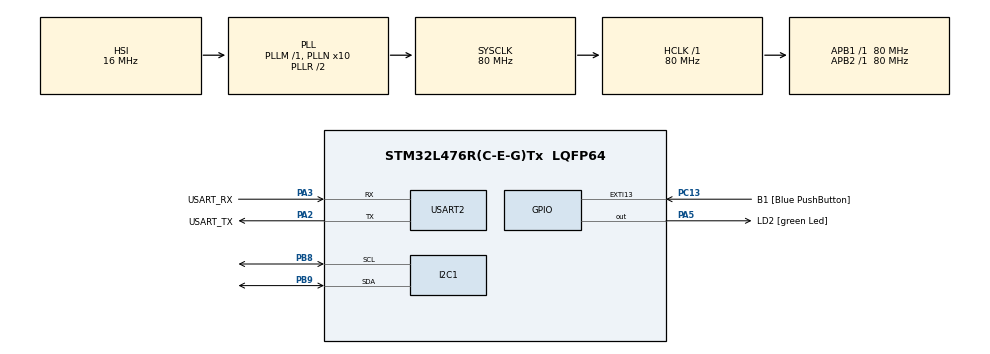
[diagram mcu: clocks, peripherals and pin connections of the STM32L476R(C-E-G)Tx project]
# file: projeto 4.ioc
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I2C1.Timing=0x10D19CE4
Mcu.Family=STM32L4
Mcu.Name=STM32L476R(C-E-G)Tx
Mcu.Package=LQFP64
NVIC.I2C1_ER_IRQn=true\:0\:0\:false\:false\:true\:true\:true\:true
NVIC.I2C1_EV_IRQn=true\:0\:0\:false\:false\:true\:true\:true\:true
NVIC.PriorityGroup=NVIC_PRIORITYGROUP_4
NVIC.USART2_IRQn=true\:0\:0\:false\:false\:true\:true\:true\:true
PA13\ (JTMS-SWDIO).GPIO_Label=TMS
PA13\ (JTMS-SWDIO).Mode=Serial_Wire
PA13\ (JTMS-SWDIO).Signal=SYS_JTMS-SWDIO
PA14\ (JTCK-SWCLK).GPIO_Label=TCK
PA14\ (JTCK-SWCLK).Mode=Serial_Wire
PA14\ (JTCK-SWCLK).Signal=SYS_JTCK-SWCLK
PA2.GPIO_Label=USART_TX
PA2.GPIO_Mode=GPIO_MODE_AF_PP
PA2.GPIO_PuPd=GPIO_NOPULL
PA2.GPIO_Speed=GPIO_SPEED_FREQ_VERY_HIGH
PA2.Mode=Asynchronous
PA2.Signal=USART2_TX
PA3.GPIO_Label=USART_RX
PA3.GPIO_Mode=GPIO_MODE_AF_PP
PA3.GPIO_PuPd=GPIO_NOPULL
PA3.GPIO_Speed=GPIO_SPEED_FREQ_VERY_HIGH
PA3.Mode=Asynchronous
PA3.Signal=USART2_RX
PA5.GPIO_Label=LD2 [green Led]
PA5.GPIO_ModeDefaultOutputPP=GPIO_MODE_OUTPUT_PP
PA5.GPIO_PuPd=GPIO_NOPULL
PA5.GPIO_Speed=GPIO_SPEED_FREQ_LOW
PA5.Signal=GPIO_Output
PB3\ (JTDO-TRACESWO).GPIO_Label=SWO
PB3\ (JTDO-TRACESWO).Signal=SYS_JTDO-SWO
PB8.Mode=I2C
PB8.Signal=I2C1_SCL
PB9.Mode=I2C
PB9.Signal=I2C1_SDA
PC13.GPIO_Label=B1 [Blue PushButton]
PC13.GPIO_ModeDefaultEXTI=GPIO_MODE_IT_FALLING
PC13.GPIO_PuPd=GPIO_NOPULL
PC13.Signal=GPXTI13
PC14-OSC32_IN\ (PC14).Mode=LSE-External-Oscillator
PC14-OSC32_IN\ (PC14).Signal=RCC_OSC32_IN
PC15-OSC32_OUT\ (PC15).Mode=LSE-External-Oscillator
PC15-OSC32_OUT\ (PC15).Signal=RCC_OSC32_OUT
PH0-OSC_IN\ (PH0).Signal=RCC_OSC_IN
PH1-OSC_OUT\ (PH1).Signal=RCC_OSC_OUT
ProjectManager.HeapSize=0x200
ProjectManager.StackSize=0x400
ProjectManager.TargetToolchain=STM32CubeIDE
RCC.ADCFreq_Value=64000000
RCC.AHBFreq_Value=80000000
RCC.APB1Freq_Value=80000000
RCC.APB1TimFreq_Value=80000000
RCC.APB2Freq_Value=80000000
RCC.APB2TimFreq_Value=80000000
RCC.CortexFreq_Value=80000000
RCC.HCLKFreq_Value=80000000
RCC.HSE_VALUE=8000000
RCC.HSI_VALUE=16000000
RCC.MSI_VALUE=4000000
RCC.PLLN=10
RCC.PLLSourceVirtual=RCC_PLLSOURCE_HSI
RCC.PREFETCH_ENABLE=1
RCC.SYSCLKFreq_VALUE=80000000
RCC.SYSCLKSource=RCC_SYSCLKSOURCE_PLLCLK
RCC.USBFreq_Value=64000000
RCC.VCOOutputFreq_Value=160000000
USART2.VirtualMode-Asynchronous=VM_ASYNC
board=NUCLEO-L476RG

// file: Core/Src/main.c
/* USER CODE BEGIN Header */
/**
  ******************************************************************************
  * @file           : main.c
  * @brief          : Main program body
  ******************************************************************************
  * @attention
  *
  * Copyright (c) 2026 STMicroelectronics.
  * All rights reserved.
  *
  * This software is licensed under terms that can be found in the LICENSE file
  * in the root directory of this software component.
  * If no LICENSE file comes with this software, it is provided AS-IS.
  *
  ******************************************************************************
  */
/* USER CODE END Header */
#include "main.h"

/* USER CODE BEGIN Includes */
#include <stdio.h>
#include <string.h>
#include <stdlib.h>
#include <ctype.h>
/* USER CODE END Includes */

/* USER CODE BEGIN PD */
#define PCF8591_ADDR   (0x48 << 1)   /* endereço 0x48 deslocado 1 bit (o HAL usa 0x90) */
#define CTRL_DAC_ON    0x40          /* bit 6 do byte de controle: liga a saída analógica */
#define TAM_LINHA      32            /* tamanho máximo de um comando digitado */
/* USER CODE END PD */

I2C_HandleTypeDef hi2c1;

UART_HandleTypeDef huart2;

/* USER CODE BEGIN PV */
typedef enum {
  I2C_LIVRE,            /* nenhuma operação I2C em andamento */
  I2C_ENVIANDO_CANAL,   /* enviando o byte de controle (escolha do canal) */
  I2C_LENDO,            /* lendo o resultado da conversão */
  I2C_ENVIANDO_DAC      /* enviando controle + valor do DAC */
} EstadoI2C;

typedef enum {
  EV_NENHUM,
  EV_CANAL_ENVIADO,     /* o byte de controle foi enviado */
  EV_LEITURA_OK,        /* os 2 bytes chegaram */
  EV_DAC_OK,            /* o valor do DAC foi enviado */
  EV_ERRO               /* o I2C falhou (sem resposta, etc.) */
} EventoI2C;

volatile EstadoI2C estado_i2c = I2C_LIVRE;
volatile EventoI2C evento_i2c = EV_NENHUM;

uint8_t rx_char;                    /* último caractere digitado no terminal */
char    linha[TAM_LINHA];           /* linha sendo montada */
uint8_t idx_linha = 0;
char    comando[TAM_LINHA];         /* comando completo, pronto para tratar */
volatile uint8_t comando_pronto = 0;

uint8_t ctrl_tx;                    /* byte de controle enviado ao PCF8591 */
uint8_t dac_tx[2];                  /* {controle, valor} para o DAC */
uint8_t adc_rx[2];                  /* 2 bytes lidos do PCF8591 */
uint8_t canal_atual = 0;            /* canal da leitura em andamento */
uint8_t dac_valor = 0;              /* último valor enviado ao DAC */
uint8_t dac_ligado = 0;             /* 1 depois do primeiro Set_DAC */
/* USER CODE END PV */

void SystemClock_Config(void);
static void MX_GPIO_Init(void);
static void MX_USART2_UART_Init(void);
static void MX_I2C1_Init(void);
/* USER CODE BEGIN PFP */
static void uart_print(const char *s);
static void tratar_evento_i2c(void);
static void processar_comando(const char *cmd);
/* USER CODE END PFP */

int main(void)
{

  /* MCU Configuration--------------------------------------------------------*/

  /* Reset of all peripherals, Initializes the Flash interface and the Systick. */
  HAL_Init();

  /* Configure the system clock */
  SystemClock_Config();

  /* Initialize all configured peripherals */
  MX_GPIO_Init();
  MX_USART2_UART_Init();
  MX_I2C1_Init();
  /* USER CODE BEGIN 2 */
  uart_print("\r\n=== Projeto 4: Nucleo + PCF8591 (I2C) ===\r\n");
  uart_print("Comandos: Read_AIN0 | Read_AIN1 | Read_AIN3 | Set_DAC_<0-255>\r\n");
  HAL_UART_Receive_IT(&huart2, &rx_char, 1);   /* começa a ouvir o terminal */
  /* USER CODE END 2 */

  /* Infinite loop */
  while (1)
  {

    /* USER CODE BEGIN 3 */
	    if (evento_i2c != EV_NENHUM) {
	      tratar_evento_i2c();
	    }
	    if (comando_pronto && estado_i2c == I2C_LIVRE) {
	      comando_pronto = 0;
	      processar_comando(comando);
	    }
  }
  /* USER CODE END 3 */
}

void SystemClock_Config(void)
{
  RCC_OscInitTypeDef RCC_OscInitStruct = {0};
  RCC_ClkInitTypeDef RCC_ClkInitStruct = {0};

  /** Configure the main internal regulator output voltage
  */
  if (HAL_PWREx_ControlVoltageScaling(PWR_REGULATOR_VOLTAGE_SCALE1) != HAL_OK)
  {
    Error_Handler();
  }

  /** Initializes the RCC Oscillators according to the specified parameters
  * in the RCC_OscInitTypeDef structure.
  */
  RCC_OscInitStruct.OscillatorType = RCC_OSCILLATORTYPE_HSI;
  RCC_OscInitStruct.HSIState = RCC_HSI_ON;
  RCC_OscInitStruct.HSICalibrationValue = RCC_HSICALIBRATION_DEFAULT;
  RCC_OscInitStruct.PLL.PLLState = RCC_PLL_ON;
  RCC_OscInitStruct.PLL.PLLSource = RCC_PLLSOURCE_HSI;
  RCC_OscInitStruct.PLL.PLLM = 1;
  RCC_OscInitStruct.PLL.PLLN = 10;
  RCC_OscInitStruct.PLL.PLLP = RCC_PLLP_DIV7;
  RCC_OscInitStruct.PLL.PLLQ = RCC_PLLQ_DIV2;
  RCC_OscInitStruct.PLL.PLLR = RCC_PLLR_DIV2;
  if (HAL_RCC_OscConfig(&RCC_OscInitStruct) != HAL_OK)
  {
    Error_Handler();
  }

  /** Initializes the CPU, AHB and APB buses clocks
  */
  RCC_ClkInitStruct.ClockType = RCC_CLOCKTYPE_HCLK|RCC_CLOCKTYPE_SYSCLK
                              |RCC_CLOCKTYPE_PCLK1|RCC_CLOCKTYPE_PCLK2;
  RCC_ClkInitStruct.SYSCLKSource = RCC_SYSCLKSOURCE_PLLCLK;
  RCC_ClkInitStruct.AHBCLKDivider = RCC_SYSCLK_DIV1;
  RCC_ClkInitStruct.APB1CLKDivider = RCC_HCLK_DIV1;
  RCC_ClkInitStruct.APB2CLKDivider = RCC_HCLK_DIV1;

  if (HAL_RCC_ClockConfig(&RCC_ClkInitStruct, FLASH_LATENCY_4) != HAL_OK)
  {
    Error_Handler();
  }
}

static void MX_I2C1_Init(void)
{

  hi2c1.Instance = I2C1;
  hi2c1.Init.Timing = 0x10D19CE4;
  hi2c1.Init.OwnAddress1 = 0;
  hi2c1.Init.AddressingMode = I2C_ADDRESSINGMODE_7BIT;
  hi2c1.Init.DualAddressMode = I2C_DUALADDRESS_DISABLE;
  hi2c1.Init.OwnAddress2 = 0;
  hi2c1.Init.OwnAddress2Masks = I2C_OA2_NOMASK;
  hi2c1.Init.GeneralCallMode = I2C_GENERALCALL_DISABLE;
  hi2c1.Init.NoStretchMode = I2C_NOSTRETCH_DISABLE;
  if (HAL_I2C_Init(&hi2c1) != HAL_OK)
  {
    Error_Handler();
  }

  /** Configure Analogue filter
  */
  if (HAL_I2CEx_ConfigAnalogFilter(&hi2c1, I2C_ANALOGFILTER_ENABLE) != HAL_OK)
  {
    Error_Handler();
  }

  /** Configure Digital filter
  */
  if (HAL_I2CEx_ConfigDigitalFilter(&hi2c1, 0) != HAL_OK)
  {
    Error_Handler();
  }

}

static void MX_USART2_UART_Init(void)
{

  huart2.Instance = USART2;
  huart2.Init.BaudRate = 115200;
  huart2.Init.WordLength = UART_WORDLENGTH_8B;
  huart2.Init.StopBits = UART_STOPBITS_1;
  huart2.Init.Parity = UART_PARITY_NONE;
  huart2.Init.Mode = UART_MODE_TX_RX;
  huart2.Init.HwFlowCtl = UART_HWCONTROL_NONE;
  huart2.Init.OverSampling = UART_OVERSAMPLING_16;
  huart2.Init.OneBitSampling = UART_ONE_BIT_SAMPLE_DISABLE;
  huart2.AdvancedInit.AdvFeatureInit = UART_ADVFEATURE_NO_INIT;
  if (HAL_UART_Init(&huart2) != HAL_OK)
  {
    Error_Handler();
  }

}

static void MX_GPIO_Init(void)
{
  GPIO_InitTypeDef GPIO_InitStruct = {0};

  /* GPIO Ports Clock Enable */
  __HAL_RCC_GPIOC_CLK_ENABLE();
  __HAL_RCC_GPIOH_CLK_ENABLE();
  __HAL_RCC_GPIOA_CLK_ENABLE();
  __HAL_RCC_GPIOB_CLK_ENABLE();

  /*Configure GPIO pin Output Level */
  HAL_GPIO_WritePin(LD2_GPIO_Port, LD2_Pin, GPIO_PIN_RESET);

  /*Configure GPIO pin : B1_Pin */
  GPIO_InitStruct.Pin = B1_Pin;
  GPIO_InitStruct.Mode = GPIO_MODE_IT_FALLING;
  GPIO_InitStruct.Pull = GPIO_NOPULL;
  HAL_GPIO_Init(B1_GPIO_Port, &GPIO_InitStruct);

  /*Configure GPIO pin : LD2_Pin */
  GPIO_InitStruct.Pin = LD2_Pin;
  GPIO_InitStruct.Mode = GPIO_MODE_OUTPUT_PP;
  GPIO_InitStruct.Pull = GPIO_NOPULL;
  GPIO_InitStruct.Speed = GPIO_SPEED_FREQ_LOW;
  HAL_GPIO_Init(LD2_GPIO_Port, &GPIO_InitStruct);

}

/* USER CODE BEGIN 4 */
/* ---------- funções de apoio ---------- */

static void uart_print(const char *s)
{
  HAL_UART_Transmit(&huart2, (uint8_t *)s, (uint16_t)strlen(s), 100);
}

/* ---------- início das operações I2C (todas não bloqueantes) ---------- */

static void iniciar_leitura(uint8_t canal)
{
  canal_atual = canal;
  ctrl_tx = (dac_ligado ? CTRL_DAC_ON : 0x00) | canal;   /* mantém o DAC ligado, se já estava */
  estado_i2c = I2C_ENVIANDO_CANAL;
  if (HAL_I2C_Master_Transmit_IT(&hi2c1, PCF8591_ADDR, &ctrl_tx, 1) != HAL_OK) {
    estado_i2c = I2C_LIVRE;
    evento_i2c = EV_ERRO;
  }
}

static void iniciar_dac(uint8_t valor)
{
  dac_valor = valor;
  dac_tx[0] = CTRL_DAC_ON;     /* byte de controle: saída analógica ligada */
  dac_tx[1] = valor;           /* byte de dados: valor do DAC */
  estado_i2c = I2C_ENVIANDO_DAC;
  if (HAL_I2C_Master_Transmit_IT(&hi2c1, PCF8591_ADDR, dac_tx, 2) != HAL_OK) {
    estado_i2c = I2C_LIVRE;
    evento_i2c = EV_ERRO;
  }
}

/* ---------- interpreta o texto digitado no terminal ---------- */

static void processar_comando(const char *cmd)
{
  if (strcmp(cmd, "Read_AIN0") == 0) {
    iniciar_leitura(0);
  } else if (strcmp(cmd, "Read_AIN1") == 0) {
    iniciar_leitura(1);
  } else if (strcmp(cmd, "Read_AIN3") == 0) {
    iniciar_leitura(3);
  } else if (strcmp(cmd, "Read_AIN2") == 0) {
    uart_print("AIN2 sem uso na placa PCF8591\r\n");
  } else if (strncmp(cmd, "Set_DAC_", 8) == 0) {
    const char *p = cmd + 8;
    size_t n = strlen(p);
    int ok = (n > 0 && n <= 3);
    for (size_t i = 0; i < n && ok; i++) {
      if (!isdigit((unsigned char)p[i])) ok = 0;
    }
    int v = ok ? atoi(p) : -1;
    if (ok && v >= 0 && v <= 255) {
      iniciar_dac((uint8_t)v);
    } else {
      uart_print("Valor invalido. Use Set_DAC_<0 a 255>\r\n");
    }
  } else {
    uart_print("Comando invalido. Use: Read_AIN0, Read_AIN1, Read_AIN3, Set_DAC_<0-255>\r\n");
  }
}

/* ---------- reage aos eventos gerados pelos callbacks ---------- */

static void tratar_evento_i2c(void)
{
  char msg[80];
  EventoI2C ev = evento_i2c;
  evento_i2c = EV_NENHUM;

  switch (ev) {
  case EV_CANAL_ENVIADO:
    /* canal escolhido: agora lê 2 bytes (o 1º é a conversão anterior, o 2º é a atual) */
    estado_i2c = I2C_LENDO;
    if (HAL_I2C_Master_Receive_IT(&hi2c1, PCF8591_ADDR, adc_rx, 2) != HAL_OK) {
      estado_i2c = I2C_LIVRE;
      uart_print("Erro I2C ao iniciar a leitura\r\n");
    }
    break;

  case EV_LEITURA_OK:
	snprintf(msg, sizeof(msg), "AIN%u: %u\r\n", (unsigned)canal_atual, (unsigned)adc_rx[1]);
    uart_print(msg);
    break;

  case EV_DAC_OK:
    dac_ligado = 1;
    snprintf(msg, sizeof(msg), "Valor do DAC: %u\r\n", (unsigned)dac_valor);
    uart_print(msg);
    break;

  case EV_ERRO:
  default:
    snprintf(msg, sizeof(msg), "Erro I2C (codigo 0x%02lX). Confira fios e alimentacao.\r\n", (unsigned long)hi2c1.ErrorCode);
    uart_print(msg);
    break;
  }
}

/* ---------- callbacks (chamados pelo HAL quando algo termina) ---------- */

void HAL_I2C_MasterTxCpltCallback(I2C_HandleTypeDef *hi2c)
{
  if (hi2c->Instance == I2C1) {
    if (estado_i2c == I2C_ENVIANDO_CANAL) {
      evento_i2c = EV_CANAL_ENVIADO;
    } else if (estado_i2c == I2C_ENVIANDO_DAC) {
      estado_i2c = I2C_LIVRE;
      evento_i2c = EV_DAC_OK;
    }
  }
}

void HAL_I2C_MasterRxCpltCallback(I2C_HandleTypeDef *hi2c)
{
  if (hi2c->Instance == I2C1 && estado_i2c == I2C_LENDO) {
    estado_i2c = I2C_LIVRE;
    evento_i2c = EV_LEITURA_OK;
  }
}

void HAL_I2C_ErrorCallback(I2C_HandleTypeDef *hi2c)
{
  if (hi2c->Instance == I2C1) {
    estado_i2c = I2C_LIVRE;
    evento_i2c = EV_ERRO;
  }
}

void HAL_UART_RxCpltCallback(UART_HandleTypeDef *huart)
{
  if (huart->Instance == USART2) {
    if (rx_char == '\r' || rx_char == '\n') {          /* ENTER: a linha terminou */
      if (idx_linha > 0) {
        linha[idx_linha] = '\0';
        memcpy(comando, linha, idx_linha + 1);
        comando_pronto = 1;
        idx_linha = 0;
      }
    } else if (idx_linha < TAM_LINHA - 1) {
      linha[idx_linha++] = (char)rx_char;
    }
    HAL_UART_Receive_IT(&huart2, &rx_char, 1);         /* continua ouvindo */
  }
}
/* USER CODE END 4 */

void Error_Handler(void)
{
  __disable_irq();
  while (1)
  {
  }
}
